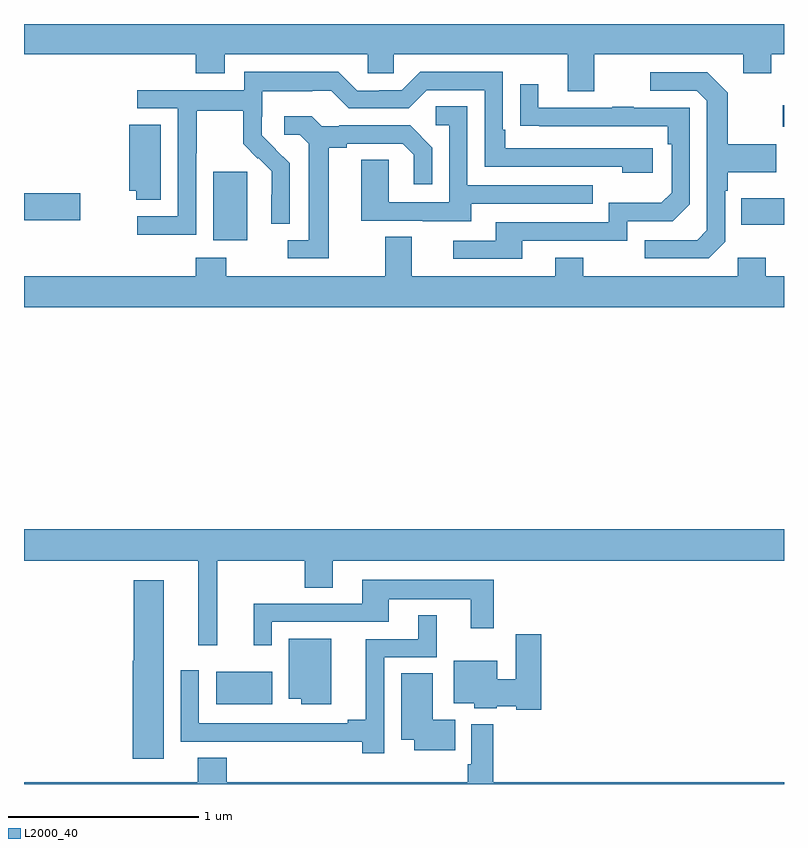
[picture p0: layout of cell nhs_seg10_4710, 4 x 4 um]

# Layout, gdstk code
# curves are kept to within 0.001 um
import gdstk
lib = gdstk.Library(unit=1e-6, precision=1e-09)
def R(c, l, rs):  # rectangles x0, y0, x1, y1
    for r in rs: c.add(gdstk.rectangle(r[:2], r[2:], *l))
def P(c, l, *ps):  # polygons
    for p in ps: c.add(gdstk.Polygon(p, *l))
L2000_40 = (2000, 40)

nhs_seg10_4710 = lib.new_cell('nhs_seg10_4710')
R(nhs_seg10_4710, L2000_40, [(382.013,1272.92,382.306,1273.09), (381.995,1275.362,382.174,1275.723), (384.775,1275.443,385,1275.583), (381,1275.466,381.295,1275.608), (384.993,1275.959,385,1276.072)])
P(nhs_seg10_4710, L2000_40, [(384.001,1276.34),(384.785,1276.34),(384.785,1276.241),(384.933,1276.241),(384.933,1276.34),(385,1276.34),(385,1276.5),(381,1276.5),(381,1276.34),(381.905,1276.34),(381.905,1276.241),(382.057,1276.241),(382.057,1276.34),(382.809,1276.34),(382.809,1276.242),(382.947,1276.242),(382.947,1276.34),(383.861,1276.34),(383.861,1276.146),(384.001,1276.146)],
  [(381.906,1275.82),(381.909,1275.82),(381.909,1276.044),(382.153,1276.044),(382.153,1275.869),(382.23,1275.792),(382.233,1275.795),(382.304,1275.725),(382.304,1275.602),(382.302,1275.602),(382.302,1275.448),(382.398,1275.448),(382.398,1275.766),(382.252,1275.914),(382.252,1276.011),(382.254,1276.011),(382.254,1276.145),(382.517,1276.145),(382.517,1276.149),(382.617,1276.149),(382.71,1276.056),(383.025,1276.056),(383.121,1276.152),(383.424,1276.152),(383.424,1275.75),(384.149,1275.75),(384.149,1275.716),(384.31,1275.716),(384.31,1275.846),(383.533,1275.846),(383.533,1275.943),(383.52,1275.943),(383.52,1276.248),(383.085,1276.248),(382.989,1276.152),(382.871,1276.152),(382.871,1276.149),(382.755,1276.149),(382.655,1276.249),(382.158,1276.249),(382.158,1276.152),(381.597,1276.152),(381.597,1276.056),(381.81,1276.056),(381.81,1275.489),(381.597,1275.489),(381.597,1275.391),(381.906,1275.391)],
  [(384.69,1275.354),(384.69,1275.623),(384.703,1275.623),(384.703,1275.719),(384.959,1275.719),(384.959,1275.867),(384.703,1275.867),(384.703,1276.139),(384.597,1276.245),(384.297,1276.245),(384.297,1276.149),(384.54,1276.149),(384.594,1276.095),(384.594,1275.414),(384.543,1275.363),(384.267,1275.363),(384.267,1275.267),(384.603,1275.267)],
  [(383.623,1275.36),(384.174,1275.36),(384.174,1275.462),(384.414,1275.462),(384.504,1275.552),(384.504,1276.059),(384.209,1276.059),(384.209,1276.064),(384.097,1276.064),(384.097,1276.059),(383.707,1276.059),(383.707,1276.183),(383.611,1276.183),(383.611,1275.964),(384.388,1275.963),(384.388,1275.866),(384.408,1275.866),(384.408,1275.612),(384.355,1275.559),(384.078,1275.559),(384.078,1275.456),(383.483,1275.456),(383.483,1275.36),(383.259,1275.36),(383.259,1275.264),(383.623,1275.264)],
  [(383.353,1275.555),(383.993,1275.555),(383.993,1275.651),(383.334,1275.651),(383.334,1276.067),(383.166,1276.067),(383.166,1275.966),(383.238,1275.966),(383.238,1275.561),(382.92,1275.561),(382.92,1275.785),(382.775,1275.785),(382.775,1275.465),(383.099,1275.465),(383.099,1275.461),(383.353,1275.461)],
  [(382.603,1275.848),(382.699,1275.848),(382.699,1275.87),(382.994,1275.87),(383.051,1275.813),(383.051,1275.657),(383.148,1275.657),(383.148,1275.85),(383.032,1275.966),(382.66,1275.966),(382.66,1275.963),(382.566,1275.963),(382.514,1276.015),(382.371,1276.015),(382.371,1275.918),(382.452,1275.918),(382.499,1275.871),(382.499,1275.363),(382.389,1275.363),(382.389,1275.267),(382.603,1275.267)],
  [(381.721,1275.971),(381.554,1275.971),(381.554,1275.623),(381.59,1275.623),(381.59,1275.574),(381.721,1275.574)],
  [(385,1275.172),(384.903,1275.172),(384.903,1275.271),(384.756,1275.271),(384.756,1275.172),(383.943,1275.172),(383.943,1275.271),(383.795,1275.271),(383.795,1275.172),(383.041,1275.172),(383.041,1275.38),(382.901,1275.38),(382.901,1275.172),(382.065,1275.172),(382.065,1275.271),(381.905,1275.271),(381.905,1275.172),(381,1275.172),(381,1275.008),(385,1275.008)],
  [(382.016,1273.676),(382.477,1273.676),(382.477,1273.534),(382.624,1273.534),(382.624,1273.676),(385,1273.676),(385,1273.84),(381,1273.84),(381,1273.676),(381.917,1273.676),(381.917,1273.23),(382.016,1273.23)],
  [(382.305,1273.353),(382.921,1273.353),(382.921,1273.472),(383.351,1273.472),(383.351,1273.32),(383.473,1273.32),(383.473,1273.576),(382.781,1273.576),(382.781,1273.449),(382.208,1273.449),(382.208,1273.23),(382.305,1273.23)],
  [(381.736,1273.573),(381.578,1273.573),(381.578,1273.149),(381.572,1273.149),(381.572,1272.633),(381.736,1272.633)],
  [(382.896,1273.167),(383.173,1273.167),(383.173,1273.387),(383.075,1273.387),(383.075,1273.263),(382.799,1273.263),(382.799,1272.839),(382.703,1272.839),(382.703,1272.819),(381.921,1272.819),(381.921,1273.099),(381.825,1273.099),(381.825,1272.723),(382.15,1272.723),(382.15,1272.722),(382.78,1272.722),(382.78,1272.663),(382.896,1272.663)],
  [(383.723,1273.288),(383.588,1273.288),(383.588,1273.052),(383.491,1273.052),(383.491,1273.15),(383.261,1273.15),(383.261,1272.926),(383.37,1272.926),(383.37,1272.899),(383.487,1272.899),(383.487,1272.91),(383.592,1272.91),(383.592,1272.892),(383.723,1272.892)],
  [(382.618,1273.264),(382.394,1273.264),(382.394,1272.95),(382.46,1272.95),(382.46,1272.92),(382.618,1272.92)],
  [(383.27,1272.838),(383.152,1272.838),(383.152,1273.082),(382.985,1273.082),(382.985,1272.734),(383.054,1272.734),(383.054,1272.677),(383.27,1272.677)],
  [(385,1272.508),(383.471,1272.508),(383.471,1272.814),(383.355,1272.814),(383.355,1272.604),(383.335,1272.604),(383.335,1272.508),(382.067,1272.508),(382.067,1272.638),(381.914,1272.638),(381.914,1272.508),(381,1272.508),(381,1272.5),(385,1272.5)])

lib.write_gds('nhs_seg10_4710.gds')
